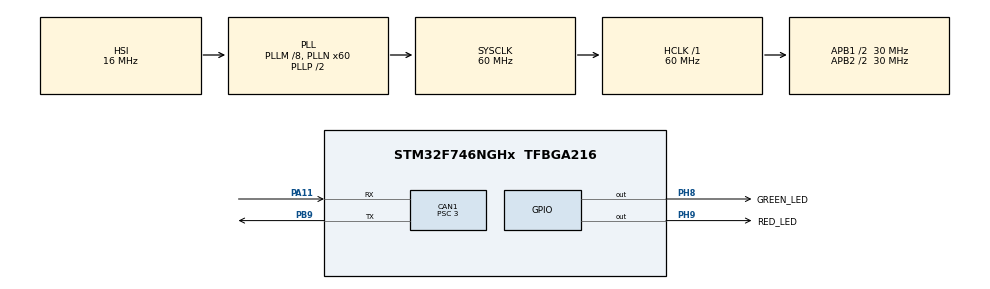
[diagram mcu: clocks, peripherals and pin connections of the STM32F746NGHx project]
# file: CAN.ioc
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CAN1.ABOM=DISABLE
CAN1.AWUM=DISABLE
CAN1.BS1=CAN_BS1_14TQ
CAN1.BS2=CAN_BS2_5TQ
CAN1.CalculateBaudRate=500000
CAN1.CalculateTimeBit=2000
CAN1.CalculateTimeQuantum=100.0
CAN1.Mode=CAN_MODE_NORMAL
CAN1.NART=ENABLE
CAN1.Prescaler=3
CAN1.RFLM=DISABLE
CAN1.SJW=CAN_SJW_1TQ
CAN1.TTCM=DISABLE
CAN1.TXFP=DISABLE
Mcu.Family=STM32F7
Mcu.Name=STM32F746NGHx
Mcu.Package=TFBGA216
NVIC.CAN1_RX0_IRQn=true\:0\:0\:false\:false\:true\:true\:true\:true
NVIC.CAN1_RX1_IRQn=true\:0\:0\:false\:false\:true\:true\:true\:true
NVIC.PriorityGroup=NVIC_PRIORITYGROUP_4
PA11.GPIO_Mode=GPIO_MODE_AF_PP
PA11.GPIO_PuPd=GPIO_NOPULL
PA11.GPIO_Speed=GPIO_SPEED_FREQ_VERY_HIGH
PA11.Mode=CAN_Activate
PA11.Signal=CAN1_RX
PB9.GPIO_Mode=GPIO_MODE_AF_PP
PB9.GPIO_PuPd=GPIO_NOPULL
PB9.GPIO_Speed=GPIO_SPEED_FREQ_VERY_HIGH
PB9.Mode=CAN_Activate
PB9.Signal=CAN1_TX
PC6.Signal=USART6_TX
PH0/OSC_IN.Mode=HSE-External-Oscillator
PH0/OSC_IN.Signal=RCC_OSC_IN
PH1/OSC_OUT.Mode=HSE-External-Oscillator
PH1/OSC_OUT.Signal=RCC_OSC_OUT
PH8.GPIO_Label=GREEN_LED
PH8.GPIO_ModeDefaultOutputPP=GPIO_MODE_OUTPUT_PP
PH8.PinState=GPIO_PIN_SET
PH8.Signal=GPIO_Output
PH9.GPIO_Label=RED_LED
PH9.GPIO_Speed=GPIO_SPEED_FREQ_HIGH
PH9.PinState=GPIO_PIN_SET
PH9.Signal=GPIO_Output
ProjectManager.HeapSize=0x200
ProjectManager.StackSize=0x400
ProjectManager.TargetToolchain=STM32CubeIDE
RCC.AHBFreq_Value=60000000
RCC.APB1CLKDivider=RCC_HCLK_DIV2
RCC.APB1Freq_Value=30000000
RCC.APB1TimFreq_Value=60000000
RCC.APB2CLKDivider=RCC_HCLK_DIV2
RCC.APB2Freq_Value=30000000
RCC.APB2TimFreq_Value=60000000
RCC.CortexFreq_Value=60000000
RCC.HCLKFreq_Value=60000000
RCC.HSE_VALUE=25000000
RCC.HSI_VALUE=16000000
RCC.LSE_VALUE=32768
RCC.PLLM=8
RCC.PLLN=60
RCC.SYSCLKFreq_VALUE=60000000
RCC.SYSCLKSource=RCC_SYSCLKSOURCE_PLLCLK
RCC.USBFreq_Value=60000000
RCC.VCOOutputFreq_Value=120000000
board=custom

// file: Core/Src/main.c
/* USER CODE BEGIN Header */
/**
  ******************************************************************************
  * @file           : main.c
  * @brief          : Main program body
  ******************************************************************************
  * @attention
  *
  * Copyright (c) 2023 STMicroelectronics.
  * All rights reserved.
  *
  * This software is licensed under terms that can be found in the LICENSE file
  * in the root directory of this software component.
  * If no LICENSE file comes with this software, it is provided AS-IS.
  *
  ******************************************************************************
  */
/* USER CODE END Header */
#include "main.h"

/* USER CODE BEGIN PM */

#define DATA_FRAME      1

//#define FILTER_Id_HIGH    0x10300000
//#define FILTER_Id_MASK    0x10300000
#define CAN_IDE           0x102

/* USER CODE END PM */

CAN_HandleTypeDef hcan1;

void SystemClock_Config(void);
static void MX_GPIO_Init(void);
static void MX_CAN1_Init(void);

/* USER CODE BEGIN 0 */

CAN_TxHeaderTypeDef TxHeader;
CAN_RxHeaderTypeDef RxHeader;

char TxData[] = {'A','B','C','D','E','F','G','H'};
char RxMsg[8];
uint32_t TxMailbox;

void HAL_CAN_RxFifo0MsgPendingCallback(CAN_HandleTypeDef *hcan)
{
	/*Receiving the message from the FIFO*/

	HAL_CAN_GetRxMessage(&hcan1, CAN_FILTER_FIFO0, &RxHeader, RxMsg);

	//HAL_GPIO_TogglePin(GPIOH, GREEN_LED_Pin);

	//HAL_Delay(100);

	HAL_CAN_AddTxMessage(&hcan1, &TxHeader, RxMsg, &TxMailbox);
}

/* USER CODE END 0 */

int main(void)
{

  /* MCU Configuration--------------------------------------------------------*/

  /* Reset of all peripherals, Initializes the Flash interface and the Systick. */
  HAL_Init();

  /* Configure the system clock */
  SystemClock_Config();

  /* Initialize all configured peripherals */
  MX_GPIO_Init();
  MX_CAN1_Init();
  /* USER CODE BEGIN 2 */

  HAL_CAN_Start(&hcan1);    /* Starting the CAN Communication */

  /*  Enabling the Interrupt Notification */
 HAL_CAN_ActivateNotification(&hcan1, CAN_IT_RX_FIFO0_MSG_PENDING);

  /* Initiliaztions of the frame to transmit the data */
  TxHeader.DLC = 8;                //Data Length( 0 to 8 bytes).
  TxHeader.ExtId = 0;              //Extended ID value.
  TxHeader.IDE = CAN_ID_STD;       //IDE to select the Standard or Extended.
#ifdef DATA_FRAME
  TxHeader.RTR = CAN_RTR_DATA;     //Data Mode.
#else
  TxHeader.RTR = CAN_RTR_REMOTE;     //Remote Mode.
#endif
  TxHeader.StdId = CAN_IDE;          //Standard ID value.
  TxHeader.TransmitGlobalTime = DISABLE;

  /* Adding Message to the MailBox */
  HAL_CAN_AddTxMessage(&hcan1, &TxHeader, TxData, &TxMailbox);

  //HAL_CAN_GetRxMessage(&hcan1, CAN_FILTER_FIFO0, &RxHeader, RxMsg);

  /* USER CODE END 2 */

  /* Infinite loop */
  while(1)
  {

    /* USER CODE BEGIN 3 */
	/*  HAL_CAN_AddTxMessage(&hcan1, &TxHeader, TxData, &TxMailbox);
	  HAL_Delay(10000);

	  uint8_t Free_Mails = HAL_CAN_GetTxMailboxesFreeLevel(&hcan1);
	  if(Free_Mails == 0)
	  {
		  HAL_GPIO_TogglePin(GPIOH, RED_LED_Pin);
	  }*/

  }
  /* USER CODE END 3 */
}

void SystemClock_Config(void)
{
  RCC_OscInitTypeDef RCC_OscInitStruct = {0};
  RCC_ClkInitTypeDef RCC_ClkInitStruct = {0};

  /** Configure the main internal regulator output voltage
  */
  __HAL_RCC_PWR_CLK_ENABLE();
  __HAL_PWR_VOLTAGESCALING_CONFIG(PWR_REGULATOR_VOLTAGE_SCALE3);

  /** Initializes the RCC Oscillators according to the specified parameters
  * in the RCC_OscInitTypeDef structure.
  */
  RCC_OscInitStruct.OscillatorType = RCC_OSCILLATORTYPE_HSI;
  RCC_OscInitStruct.HSIState = RCC_HSI_ON;
  RCC_OscInitStruct.HSICalibrationValue = RCC_HSICALIBRATION_DEFAULT;
  RCC_OscInitStruct.PLL.PLLState = RCC_PLL_ON;
  RCC_OscInitStruct.PLL.PLLSource = RCC_PLLSOURCE_HSI;
  RCC_OscInitStruct.PLL.PLLM = 8;
  RCC_OscInitStruct.PLL.PLLN = 60;
  RCC_OscInitStruct.PLL.PLLP = RCC_PLLP_DIV2;
  RCC_OscInitStruct.PLL.PLLQ = 2;
  if (HAL_RCC_OscConfig(&RCC_OscInitStruct) != HAL_OK)
  {
    Error_Handler();
  }

  /** Initializes the CPU, AHB and APB buses clocks
  */
  RCC_ClkInitStruct.ClockType = RCC_CLOCKTYPE_HCLK|RCC_CLOCKTYPE_SYSCLK
                              |RCC_CLOCKTYPE_PCLK1|RCC_CLOCKTYPE_PCLK2;
  RCC_ClkInitStruct.SYSCLKSource = RCC_SYSCLKSOURCE_PLLCLK;
  RCC_ClkInitStruct.AHBCLKDivider = RCC_SYSCLK_DIV1;
  RCC_ClkInitStruct.APB1CLKDivider = RCC_HCLK_DIV2;
  RCC_ClkInitStruct.APB2CLKDivider = RCC_HCLK_DIV2;

  if (HAL_RCC_ClockConfig(&RCC_ClkInitStruct, FLASH_LATENCY_1) != HAL_OK)
  {
    Error_Handler();
  }
}

static void MX_CAN1_Init(void)
{

  hcan1.Instance = CAN1;
  hcan1.Init.Prescaler = 3;
  hcan1.Init.Mode = CAN_MODE_NORMAL;
  hcan1.Init.SyncJumpWidth = CAN_SJW_1TQ;
  hcan1.Init.TimeSeg1 = CAN_BS1_14TQ;
  hcan1.Init.TimeSeg2 = CAN_BS2_5TQ;
  hcan1.Init.TimeTriggeredMode = DISABLE;
  hcan1.Init.AutoBusOff = DISABLE;
  hcan1.Init.AutoWakeUp = DISABLE;
  hcan1.Init.AutoRetransmission = ENABLE;
  hcan1.Init.ReceiveFifoLocked = DISABLE;
  hcan1.Init.TransmitFifoPriority = DISABLE;
  if (HAL_CAN_Init(&hcan1) != HAL_OK)
  {
    Error_Handler();
  }
  /* USER CODE BEGIN CAN1_Init 2 */

  CAN_FilterTypeDef canFilterConfig;

  /* CAN Filter Configurations */
  canFilterConfig.FilterActivation = CAN_FILTER_ENABLE;
  canFilterConfig.FilterBank = 10;
  canFilterConfig.FilterFIFOAssignment = CAN_FILTER_FIFO0;
  canFilterConfig.FilterIdHigh = 0x0000;
  canFilterConfig.FilterIdLow = 0x0000;
  canFilterConfig.FilterMaskIdHigh = 0x0000;
  canFilterConfig.FilterMaskIdLow = 0x0000;
  canFilterConfig.FilterMode = CAN_FILTERMODE_IDMASK;
  canFilterConfig.FilterScale = CAN_FILTERSCALE_32BIT;
  canFilterConfig.SlaveStartFilterBank = 13;

HAL_CAN_ConfigFilter(&hcan1, &canFilterConfig);

  /* USER CODE END CAN1_Init 2 */

}

static void MX_GPIO_Init(void)
{
  GPIO_InitTypeDef GPIO_InitStruct = {0};

  /* GPIO Ports Clock Enable */
  __HAL_RCC_GPIOB_CLK_ENABLE();
  __HAL_RCC_GPIOA_CLK_ENABLE();
  __HAL_RCC_GPIOH_CLK_ENABLE();
  __HAL_RCC_GPIOC_CLK_ENABLE();

  /*Configure GPIO pin Output Level */
  HAL_GPIO_WritePin(GPIOH, RED_LED_Pin|GREEN_LED_Pin, GPIO_PIN_SET);

  /*Configure GPIO pin : PC6 */
  GPIO_InitStruct.Pin = GPIO_PIN_6;
  GPIO_InitStruct.Mode = GPIO_MODE_AF_PP;
  GPIO_InitStruct.Pull = GPIO_NOPULL;
  GPIO_InitStruct.Speed = GPIO_SPEED_FREQ_VERY_HIGH;
  GPIO_InitStruct.Alternate = GPIO_AF8_USART6;
  HAL_GPIO_Init(GPIOC, &GPIO_InitStruct);

  /*Configure GPIO pin : RED_LED_Pin */
  GPIO_InitStruct.Pin = RED_LED_Pin;
  GPIO_InitStruct.Mode = GPIO_MODE_OUTPUT_PP;
  GPIO_InitStruct.Pull = GPIO_NOPULL;
  GPIO_InitStruct.Speed = GPIO_SPEED_FREQ_HIGH;
  HAL_GPIO_Init(RED_LED_GPIO_Port, &GPIO_InitStruct);

  /*Configure GPIO pin : GREEN_LED_Pin */
  GPIO_InitStruct.Pin = GREEN_LED_Pin;
  GPIO_InitStruct.Mode = GPIO_MODE_OUTPUT_PP;
  GPIO_InitStruct.Pull = GPIO_NOPULL;
  GPIO_InitStruct.Speed = GPIO_SPEED_FREQ_LOW;
  HAL_GPIO_Init(GREEN_LED_GPIO_Port, &GPIO_InitStruct);

}

void Error_Handler(void)
{
  __disable_irq();
  while (1)
  {
  }
}
